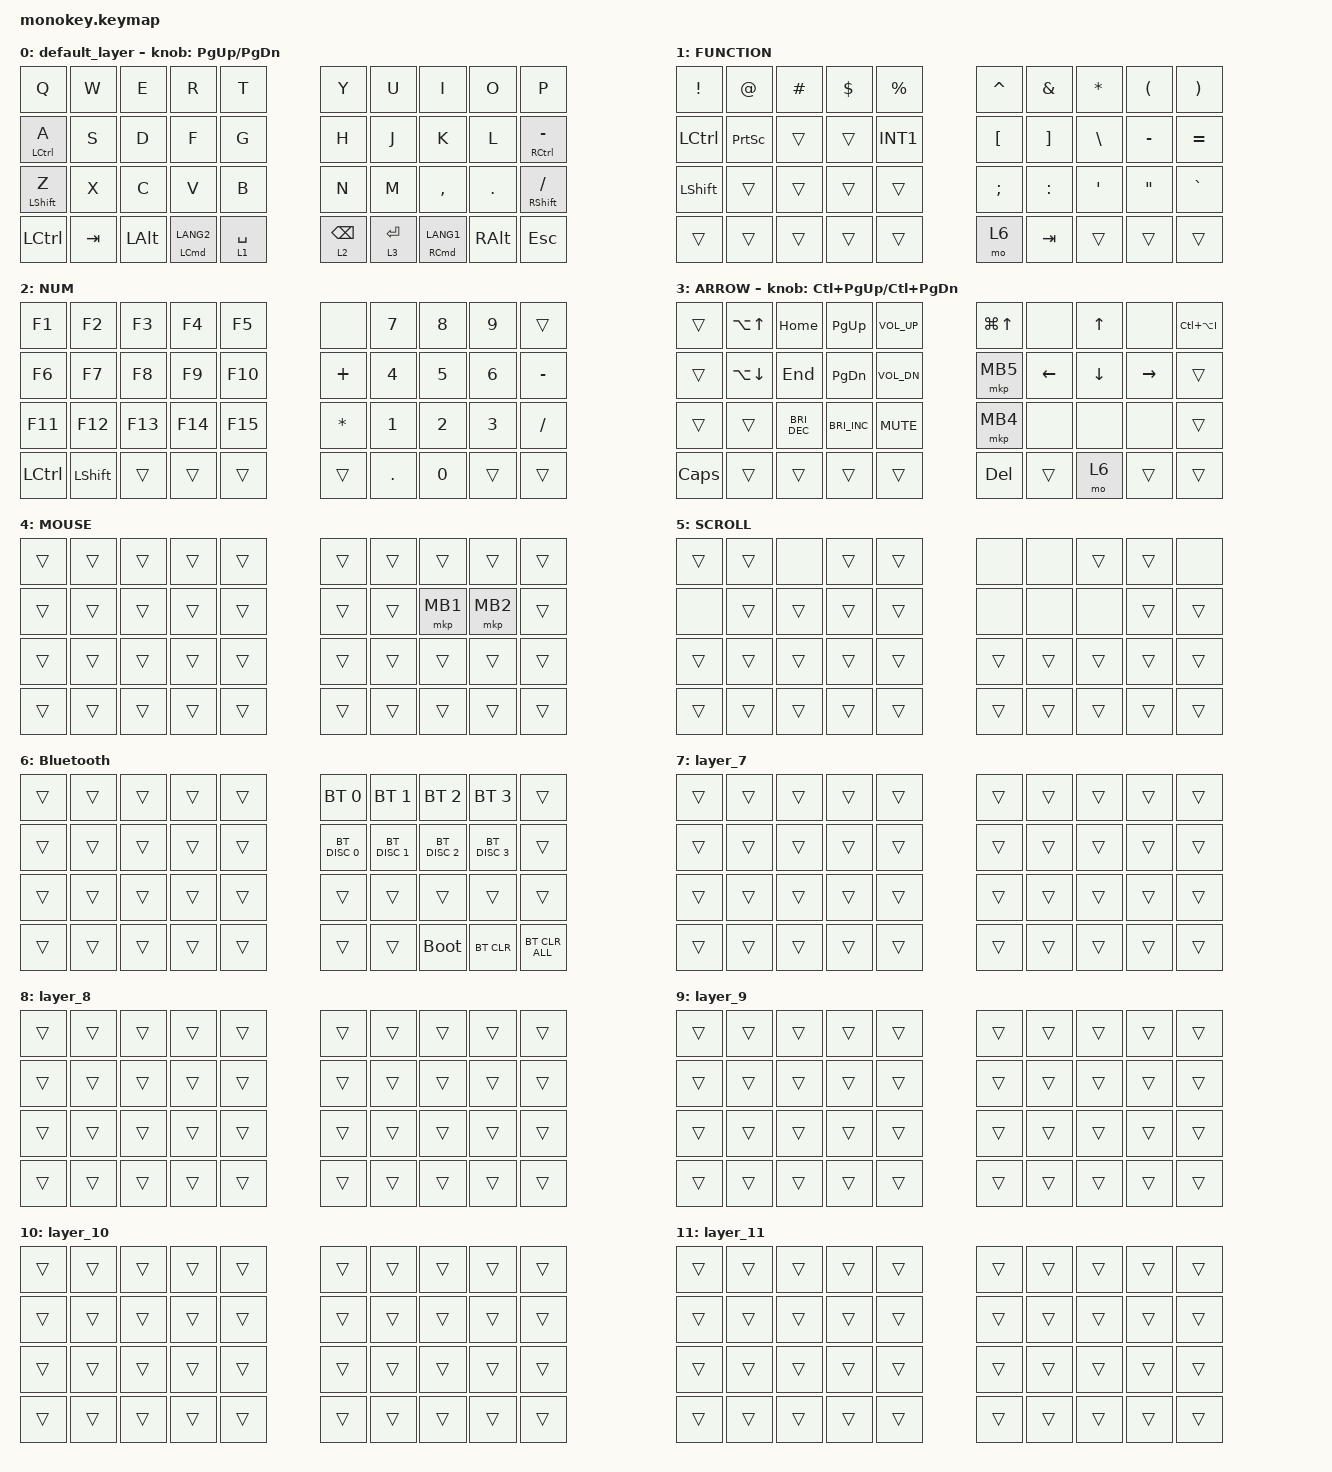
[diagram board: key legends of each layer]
#include <behaviors.dtsi>
#include <dt-bindings/zmk/bt.h>
#include <dt-bindings/zmk/keys.h>
#include <dt-bindings/zmk/pointing.h>

#define MOUSE 4
#define SCROLL 5
#define NUM 6

&mt {
    flavor = "balanced";
    quick-tap-ms = <300>;
    tapping-term-ms = <250>;
    require-prior-idle-ms = <150>;
};

&lt { quick-tap-ms = <300>; };

/ {
    combos {
        compatible = "zmk,combos";

        scroll {
            bindings = <&mo 5>;
            key-positions = <17 18>;
        };

        mb3 {
            bindings = <&mkp MB3>;
            key-positions = <19 18>;
        };
    };

    behaviors {
        right_click: right_click_behavior {
            compatible = "zmk,behavior-mouse-key";
            label = "RIGHT_CLICK";
            #binding-cells = <0>;

            // 右クリックは通常 MB2 に対応（ZMKの標準定義）

            bindings = <&mkp MB2>;
        };
    };

    keymap {
        compatible = "zmk,keymap";

        default_layer {
            bindings = <
&kp Q               &kp W    &kp E         &kp R                   &kp T                           &kp Y        &kp U                    &kp I      &kp O          &kp P
&mt LEFT_CONTROL A  &kp S    &kp D         &kp F                   &kp G                           &kp H        &kp J                    &kp K      &kp L          &mt RIGHT_CONTROL MINUS
&mt LEFT_SHIFT Z    &kp X    &kp C         &kp V                   &kp B                           &kp N        &kp M                    &kp COMMA  &kp PERIOD     &mt RIGHT_SHIFT SLASH
&kp LEFT_CONTROL    &kp TAB  &kp LEFT_ALT  &mt LEFT_COMMAND LANG2  &lt 1 SPACE  &lt 2 BACKSPACE    &lt 3 ENTER  &mt RIGHT_COMMAND LANG1             &kp RIGHT_ALT  &kp ESCAPE
            >;

            sensor-bindings = <&inc_dec_kp PG_UP PAGE_DOWN>;
        };

        FUNCTION {
            bindings = <
&kp EXCLAMATION   &kp AT_SIGN  &kp HASH  &kp DOLLAR  &kp PERCENT           &kp CARET         &kp AMPERSAND      &kp ASTERISK      &kp LEFT_PARENTHESIS  &kp RIGHT_PARENTHESIS
&kp LEFT_CONTROL  &kp PSCRN    &trans    &trans      &kp INT1              &kp LEFT_BRACKET  &kp RIGHT_BRACKET  &kp BACKSLASH     &kp MINUS             &kp EQUAL
&kp LEFT_SHIFT    &trans       &trans    &trans      &trans                &kp SEMICOLON     &kp COLON          &kp SINGLE_QUOTE  &kp DOUBLE_QUOTES     &kp GRAVE
&trans            &trans       &trans    &trans      &trans       &mo 6    &kp TAB           &trans                               &trans                &trans
            >;
        };

        NUM {
            bindings = <
&kp F1            &kp F2          &kp F3   &kp F4   &kp F5             &none         &kp N7  &kp N8  &kp N9  &trans
&kp F6            &kp F7          &kp F8   &kp F9   &kp F10            &kp PLUS      &kp N4  &kp N5  &kp N6  &kp MINUS
&kp F11           &kp F12         &kp F13  &kp F14  &kp F15            &kp ASTERISK  &kp N1  &kp N2  &kp N3  &kp SLASH
&kp LEFT_CONTROL  &kp LEFT_SHIFT  &trans   &trans   &trans   &trans    &kp PERIOD    &kp N0          &trans  &trans
            >;
        };

        ARROW {
            bindings = <
&trans    &kp LA(UP)    &kp HOME        &kp PG_UP      &kp C_VOL_UP             &kp LG(UP)  &none     &kp UP    &none      &kp LC(LA(I))
&trans    &kp LA(DOWN)  &kp END         &kp PG_DN      &kp C_VOL_DN             &mkp MB5    &kp LEFT  &kp DOWN  &kp RIGHT  &trans
&trans    &trans        &kp C_BRI_DEC   &kp C_BRI_INC  &kp C_MUTE               &mkp MB4    &none     &none     &none      &trans
&kp CAPS  &trans        &trans          &trans         &trans        &kp DEL    &trans      &mo 6               &trans     &trans
            >;

            sensor-bindings = <&inc_dec_kp LC(PAGE_UP) LC(PAGE_DOWN)>;
        };

        MOUSE {
            bindings = <
&trans  &trans  &trans  &trans  &trans            &trans  &trans  &trans    &trans    &trans
&trans  &trans  &trans  &trans  &trans            &trans  &trans  &mkp MB1  &mkp MB2  &trans
&trans  &trans  &trans  &trans  &trans            &trans  &trans  &trans    &trans    &trans
&trans  &trans  &trans  &trans  &trans  &trans    &trans  &trans            &trans    &trans
            >;
        };

        SCROLL {
            bindings = <
&trans  &trans  &none   &trans  &trans            &none   &none   &trans  &trans  &none
&none   &trans  &trans  &trans  &trans            &none   &none   &none   &trans  &trans
&trans  &trans  &trans  &trans  &trans            &trans  &trans  &trans  &trans  &trans
&trans  &trans  &trans  &trans  &trans  &trans    &trans  &trans          &trans  &trans
            >;
        };

        Bluetooth {
            bindings = <
&trans  &trans  &trans  &trans  &trans            &bt BT_SEL 0   &bt BT_SEL 1   &bt BT_SEL 2   &bt BT_SEL 3   &trans
&trans  &trans  &trans  &trans  &trans            &bt BT_DISC 0  &bt BT_DISC 1  &bt BT_DISC 2  &bt BT_DISC 3  &trans
&trans  &trans  &trans  &trans  &trans            &trans         &trans         &trans         &trans         &trans
&trans  &trans  &trans  &trans  &trans  &trans    &trans         &bootloader                   &bt BT_CLR     &bt BT_CLR_ALL
            >;
        };

        layer_7 {
            bindings = <
&trans  &trans  &trans  &trans  &trans            &trans  &trans  &trans  &trans  &trans
&trans  &trans  &trans  &trans  &trans            &trans  &trans  &trans  &trans  &trans
&trans  &trans  &trans  &trans  &trans            &trans  &trans  &trans  &trans  &trans
&trans  &trans  &trans  &trans  &trans  &trans    &trans  &trans          &trans  &trans
            >;
        };

        layer_8 {
            bindings = <
&trans  &trans  &trans  &trans  &trans            &trans  &trans  &trans  &trans  &trans
&trans  &trans  &trans  &trans  &trans            &trans  &trans  &trans  &trans  &trans
&trans  &trans  &trans  &trans  &trans            &trans  &trans  &trans  &trans  &trans
&trans  &trans  &trans  &trans  &trans  &trans    &trans  &trans          &trans  &trans
            >;
        };

        layer_9 {
            bindings = <
&trans  &trans  &trans  &trans  &trans            &trans  &trans  &trans  &trans  &trans
&trans  &trans  &trans  &trans  &trans            &trans  &trans  &trans  &trans  &trans
&trans  &trans  &trans  &trans  &trans            &trans  &trans  &trans  &trans  &trans
&trans  &trans  &trans  &trans  &trans  &trans    &trans  &trans          &trans  &trans
            >;
        };

        layer_10 {
            bindings = <
&trans  &trans  &trans  &trans  &trans            &trans  &trans  &trans  &trans  &trans
&trans  &trans  &trans  &trans  &trans            &trans  &trans  &trans  &trans  &trans
&trans  &trans  &trans  &trans  &trans            &trans  &trans  &trans  &trans  &trans
&trans  &trans  &trans  &trans  &trans  &trans    &trans  &trans          &trans  &trans
            >;
        };

        layer_11 {
            bindings = <
&trans  &trans  &trans  &trans  &trans            &trans  &trans  &trans  &trans  &trans
&trans  &trans  &trans  &trans  &trans            &trans  &trans  &trans  &trans  &trans
&trans  &trans  &trans  &trans  &trans            &trans  &trans  &trans  &trans  &trans
&trans  &trans  &trans  &trans  &trans  &trans    &trans  &trans          &trans  &trans
            >;
        };
    };
};
